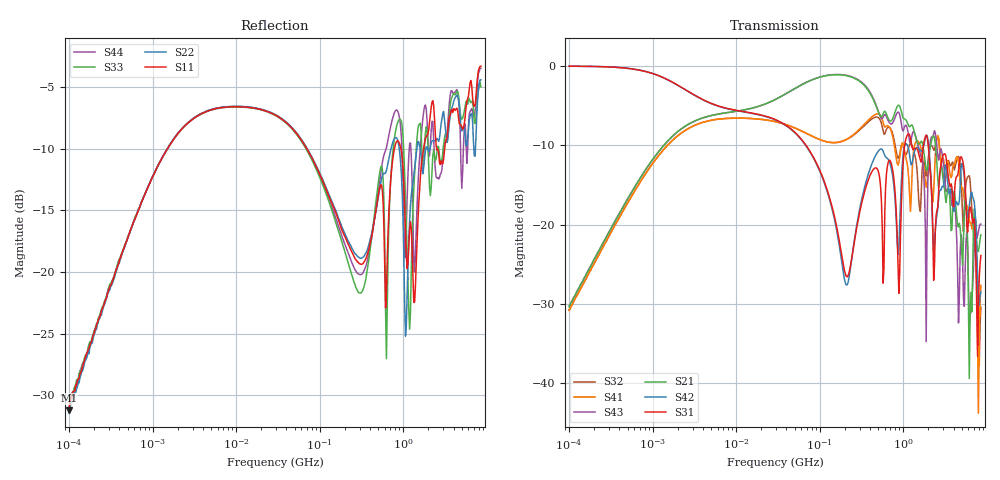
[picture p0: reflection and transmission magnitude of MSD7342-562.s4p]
# MHz S MA R 50
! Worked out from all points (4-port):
!   498 points, 100 kHz to 8.5 GHz, reference 50 ohm
!   strongest paths, dB at 100 kHz, 1.698 MHz, 29.49 MHz, 500.7 MHz, 8.5 GHz:
!     S31: -0.1, -2.0, -6.8, -13.2, -23.9
!     S42: -0.1, -2.0, -6.8, -10.8, -28.5
!     S21: -30.4, -8.9, -4.2, -5.8, -21.3
!     S43: -30.2, -9.0, -4.2, -5.7, -19.9
!     S41: -30.8, -9.5, -7.0, -6.1, -27.6
!     S32: -30.7, -9.4, -7.0, -6.5, -30.4
!   lowest |S11| = -31.2 dB at 100 kHz (marker M1), VSWR 1.06, Z = 50 + j2.76 ohm
!   |S11| at or under -10 dB: 70.11 MHz to 784.8 MHz (714.7 MHz wide, 167 % of centre); 937.1 MHz to 1.753 GHz (815.9 MHz wide, 60.7 % of centre); 2.516 GHz to 3.132 GHz (615.4 MHz wide, 21.8 % of centre)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
0.1  0.02757 88.2  0.03035 86.2  0.9932 -1.7  0.02876 -94.3
     0.03035 86.2  0.02677 87.3  0.02912 -94.5  0.9938 -1.7
     0.9932 -1.7  0.02912 -94.5  0.03054 89.1  0.03075 86.0
     0.02876 -94.3  0.9938 -1.7  0.03075 86.0  0.02822 87.7
110.9003  0.2295 -79.8  0.8589 -12.3  0.1928 -76.6  0.3368 84.0
          0.8589 -12.3  0.2331 -79.5  0.3362 84.1  0.1897 -77.2
          0.1928 -76.6  0.3362 84.1  0.2219 -80.2  0.8608 -12.9
          0.3368 84.0  0.1897 -77.2  0.8608 -12.9  0.2254 -79.8
478.3074  0.1838 77.3  0.5487 -100.3  0.2268 -67.7  0.4968 -42.3
          0.5487 -100.3  0.1815 98.8  0.4754 -42.5  0.2785 -52.0
          0.2268 -67.7  0.4754 -42.5  0.2014 58.9  0.5571 -105.8
          0.4968 -42.3  0.2785 -52.0  0.5571 -105.8  0.188 90.0
4802.421  0.3965 110.5  0.0955 57.8  0.2618 60.4  0.1843 27.1
          0.0955 57.8  0.4262 90.5  0.2399 19.2  0.1726 61.4
          0.2618 60.4  0.2399 19.2  0.4459 103.7  0.06719 96.2
          0.1843 27.1  0.1726 61.4  0.06719 96.2  0.3713 75.2
6034.534  0.5174 -93.9  0.03228 -162.6  0.105 -117.4  0.1163 -137.0
          0.03228 -162.6  0.3769 -92.8  0.202 -133.3  0.1216 -136.5
          0.105 -117.4  0.202 -133.3  0.4977 -103.9  0.04266 -105.3
          0.1163 -137.0  0.1216 -136.5  0.04266 -105.3  0.3907 -102.1
7080.634  0.4697 124.8  0.1252 -142.5  0.1085 69.1  0.08536 70.0
          0.1252 -142.5  0.2961 120.0  0.07772 51.5  0.1387 50.6
          0.1085 69.1  0.07772 51.5  0.4045 86.5  0.07936 -120.2
          0.08536 70.0  0.1387 50.6  0.07936 -120.2  0.4253 92.0
8500  0.6832 -55.6  0.08622 31.9  0.06394 -14.3  0.04145 -4.0
      0.08622 31.9  0.6018 -63.3  0.03026 -95.5  0.03769 -77.9
      0.06394 -14.3  0.03026 -95.5  0.5625 -59.9  0.1006 28.0
      0.04145 -4.0  0.03769 -77.9  0.1006 28.0  0.6705 -80.1
